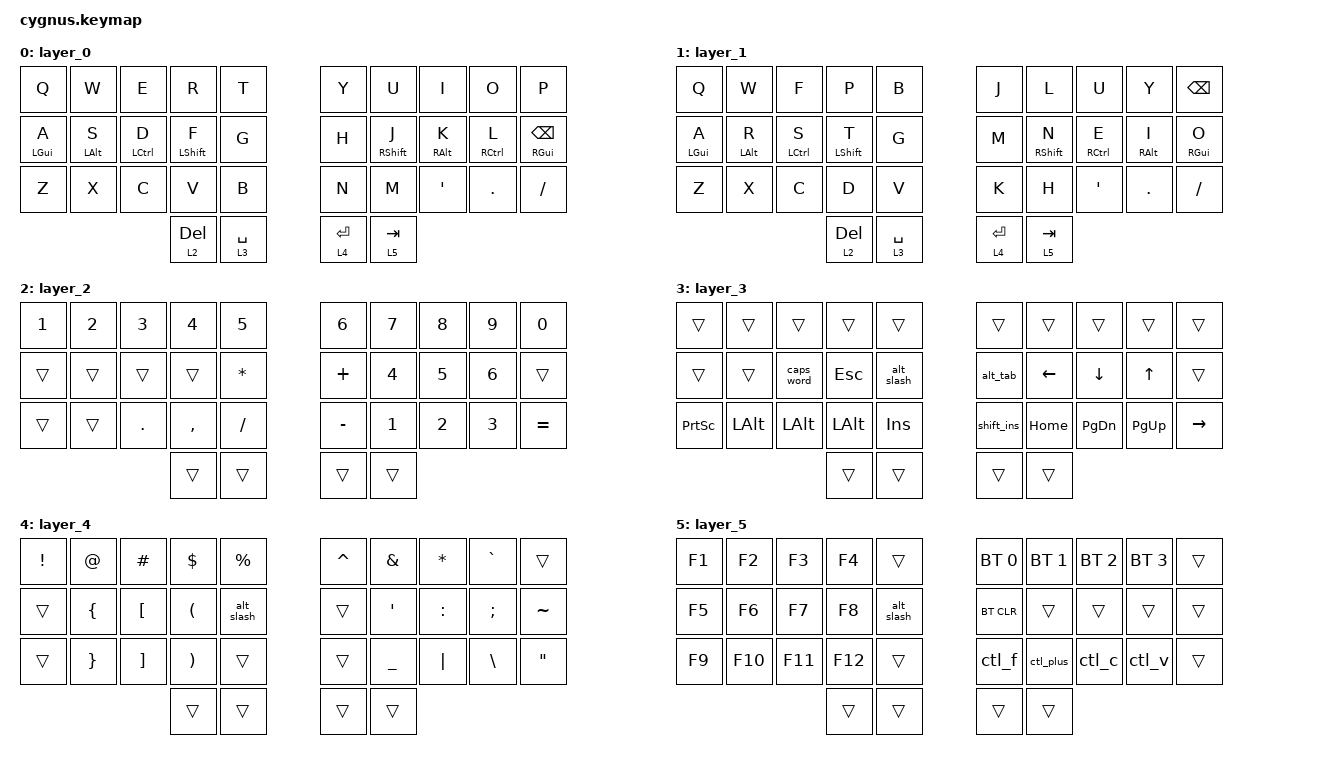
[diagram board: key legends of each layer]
#include <behaviors.dtsi>
#include <dt-bindings/zmk/keys.h>
#include <dt-bindings/zmk/bt.h>

// Layer definitions matching L0 through L5
#define L0  0
#define L1  1
#define L2  2
#define L3  3
#define L4  4
#define L5  5

/ {
    behaviors {
        // Home row modifier helpers (Hold-Tap)
        mt_gui: mt_gui {
            compatible = "zmk,behavior-hold-tap";
            #binding-cells = <2>;
            tapping-term-ms = <200>;
            quick-tap-ms = <150>;
            flavor = "tap-preferred";
            bindings = <&kp>, <&kp>;
        };
        mt_alt: mt_alt {
            compatible = "zmk,behavior-hold-tap";
            #binding-cells = <2>;
            tapping-term-ms = <200>;
            quick-tap-ms = <150>;
            flavor = "tap-preferred";
            bindings = <&kp>, <&kp>;
        };
        mt_ctl: mt_ctl {
            compatible = "zmk,behavior-hold-tap";
            #binding-cells = <2>;
            tapping-term-ms = <200>;
            quick-tap-ms = <150>;
            flavor = "tap-preferred";
            bindings = <&kp>, <&kp>;
        };
        mt_sht: mt_sht {
            compatible = "zmk,behavior-hold-tap";
            #binding-cells = <2>;
            tapping-term-ms = <200>;
            quick-tap-ms = <150>;
            flavor = "tap-preferred";
            bindings = <&kp>, <&kp>;
        };
    };

    macros {
        // Combo key shortcuts defined in L3, L4, and L5
        alt_slash: alt_slash {
            compatible = "zmk,behavior-macro";
            #binding-cells = <0>;
            bindings = <&macro_press &kp LALT>, <&macro_tap &kp FSLH>, <&macro_release &kp LALT>;
        };
        alt_tab: alt_tab {
            compatible = "zmk,behavior-macro";
            #binding-cells = <0>;
            bindings = <&macro_press &kp LALT>, <&macro_tap &kp TAB>, <&macro_release &kp LALT>;
        };
        shift_ins: shift_ins {
            compatible = "zmk,behavior-macro";
            #binding-cells = <0>;
            bindings = <&macro_press &kp LSHFT>, <&macro_tap &kp INS>, <&macro_release &kp LSHFT>;
        };
        ctl_c: ctl_c {
            compatible = "zmk,behavior-macro";
            #binding-cells = <0>;
            bindings = <&macro_press &kp LCTRL>, <&macro_tap &kp C>, <&macro_release &kp LCTRL>;
        };
        ctl_v: ctl_v {
            compatible = "zmk,behavior-macro";
            #binding-cells = <0>;
            bindings = <&macro_press &kp LCTRL>, <&macro_tap &kp V>, <&macro_release &kp LCTRL>;
        };
        ctl_f: ctl_f {
            compatible = "zmk,behavior-macro";
            #binding-cells = <0>;
            bindings = <&macro_press &kp LCTRL>, <&macro_tap &kp F>, <&macro_release &kp LCTRL>;
        };
        ctl_x: ctl_x {
            compatible = "zmk,behavior-macro";
            #binding-cells = <0>;
            bindings = <&macro_press &kp LCTRL>, <&macro_tap &kp X>, <&macro_release &kp LCTRL>;
        };
        ctl_plus: ctl_plus {
            compatible = "zmk,behavior-macro";
            #binding-cells = <0>;
            bindings = <&macro_press &kp LCTRL>, <&macro_tap &kp EQUAL>, <&macro_release &kp LCTRL>;
        };
    };

    keymap {
        compatible = "zmk,keymap";

        // L0: QWERTY Base
        layer_0 {
            bindings = <
                &kp Q         &kp W         &kp E         &kp R         &kp T            &kp Y         &kp U         &kp I         &kp O         &kp P
                &mt_gui LGUI A &mt_alt LALT S &mt_ctl LCTRL D &mt_sht LSHFT F &kp G        &kp H         &mt_sht RSHFT J &mt_alt RALT K &mt_ctl RCTRL L &mt_gui RGUI BSPC
                &kp Z         &kp X         &kp C         &kp V         &kp B            &kp N         &kp M         &kp SQT       &kp DOT       &kp FSLH
                                            &lt L2 DEL    &lt L3 SPACE                   &lt L4 ENTER  &lt L5 TAB
            >;
        };

        // L1: Colemak / Secondary Base
        layer_1 {
            bindings = <
                &kp Q         &kp W         &kp F         &kp P         &kp B            &kp J         &kp L         &kp U         &kp Y         &kp BSPC
                &mt_gui LGUI A &mt_alt LALT R &mt_ctl LCTRL S &mt_sht LSHFT T &kp G        &kp M         &mt_sht RSHFT N &mt_ctl RCTRL E &mt_alt RALT I &mt_gui RGUI O
                &kp Z         &kp X         &kp C         &kp D         &kp V            &kp K         &kp H         &kp SQT       &kp DOT       &kp FSLH
                                            &lt L2 DEL    &lt L3 SPACE                   &lt L4 ENTER  &lt L5 TAB
            >;
        };

        // L2: Numbers & Keypad
        layer_2 {
            bindings = <
                &kp N1        &kp N2        &kp N3        &kp N4        &kp N5           &kp N6        &kp N7        &kp N8        &kp N9        &kp N0
                &trans        &trans        &trans        &trans        &kp ASTRK        &kp PLUS      &kp N4        &kp N5        &kp N6        &trans
                &trans        &trans        &kp DOT       &kp COMMA     &kp FSLH         &kp MINUS     &kp N1        &kp N2        &kp N3        &kp EQUAL
                                            &trans        &trans                         &trans        &trans
            >;
        };

        // L3: Navigation & Editing
        layer_3 {
            bindings = <
                &trans        &trans        &trans        &trans        &trans           &trans        &trans        &trans        &trans        &trans
                &trans        &trans        &caps_word    &kp ESC       &alt_slash       &alt_tab      &kp LEFT      &kp DOWN      &kp UP        &trans
                &kp PSCRN     &kp LALT      &kp LALT      &kp LALT      &kp INS          &shift_ins    &kp HOME      &kp PG_DN     &kp PG_UP     &kp RIGHT
                                            &trans        &trans                         &trans        &trans
            >;
        };

        // L4: Symbols
        layer_4 {
            bindings = <
                &kp EXCL      &kp AT        &kp HASH      &kp DLLR      &kp PRCNT        &kp CARET     &kp AMPS      &kp ASTRK     &kp GRAVE     &trans
                &trans        &kp LBRC      &kp LBKT      &kp LPAR      &alt_slash       &trans        &kp SQT       &kp COLON     &kp SEMI      &kp TILDE
                &trans        &kp RBRC      &kp RBKT      &kp RPAR      &trans           &trans        &kp UNDER     &kp PIPE      &kp BSLH      &kp DQT
                                            &trans        &trans                         &trans        &trans
            >;
        };

        // L5: Function Keys, Bluetooth & Shortcuts
        layer_5 {
            bindings = <
                &kp F1        &kp F2        &kp F3        &kp F4        &trans           &bt BT_SEL 0  &bt BT_SEL 1  &bt BT_SEL 2  &bt BT_SEL 3  &trans
                &kp F5        &kp F6        &kp F7        &kp F8        &alt_slash       &bt BT_CLR    &trans        &trans        &trans        &trans
                &kp F9        &kp F10       &kp F11       &kp F12       &trans           &ctl_f        &ctl_plus     &ctl_c        &ctl_v        &trans
                                            &trans        &trans                         &trans        &trans
            >;
        };
    };
};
